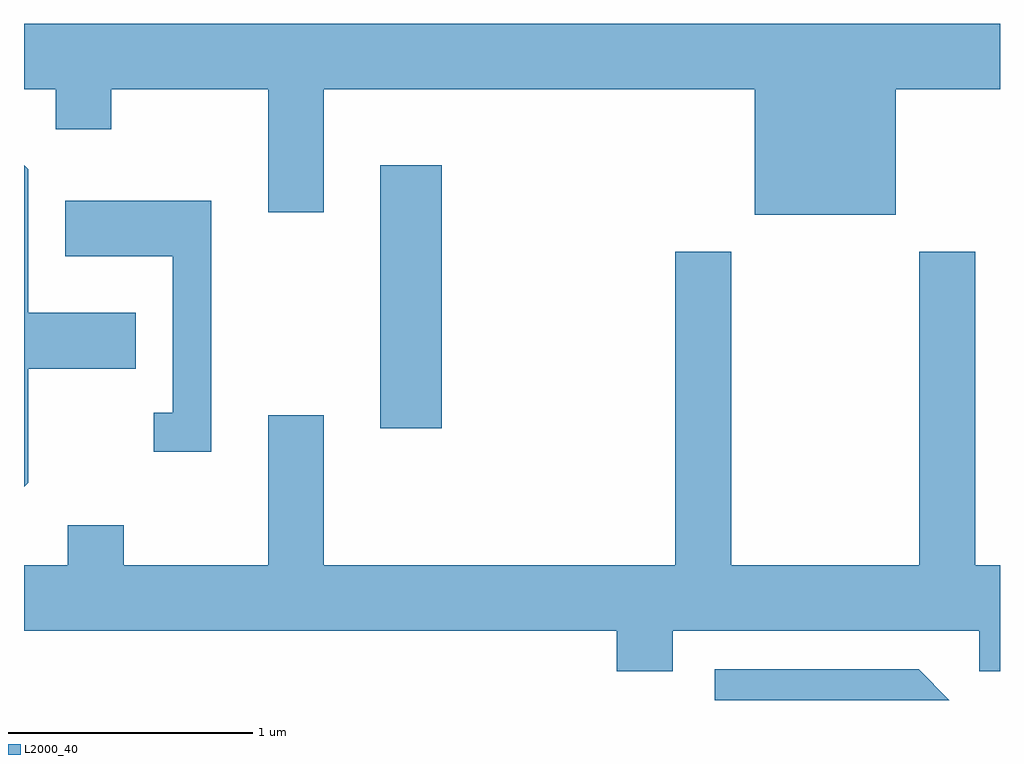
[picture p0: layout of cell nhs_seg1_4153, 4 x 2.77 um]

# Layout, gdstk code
import gdstk
lib = gdstk.Library(unit=1e-6, precision=1e-09)
def R(c, l, rs):  # rectangles x0, y0, x1, y1
    for r in rs: c.add(gdstk.rectangle(r[:2], r[2:], *l))
def P(c, l, *ps):  # polygons
    for p in ps: c.add(gdstk.Polygon(p, *l))
L2000_40 = (2000, 40)

nhs_seg1_4153 = lib.new_cell('nhs_seg1_4153')
R(nhs_seg1_4153, L2000_40, [(311.071,924.826,311.324,925.904)])
P(nhs_seg1_4153, L2000_40, [(313.184,926.216),(313.611,926.216),(313.611,926.484),(309.611,926.484),(309.611,926.216),(309.741,926.216),(309.741,926.051),(309.969,926.051),(309.969,926.216),(310.611,926.216),(310.611,925.711),(310.839,925.711),(310.839,926.216),(312.606,926.216),(312.606,925.701),(313.184,925.701)],
  [(309.629,924.604),(309.629,925.071),(310.069,925.071),(310.069,925.299),(309.629,925.299),(309.629,925.887),(309.611,925.905),(309.611,924.586)],
  [(310.379,925.759),(309.781,925.759),(309.781,925.531),(310.221,925.531),(310.221,924.889),(310.143,924.889),(310.143,924.731),(310.379,924.731)],
  [(312.269,923.996),(313.526,923.996),(313.526,923.831),(313.611,923.831),(313.611,924.264),(313.509,924.264),(313.509,925.549),(313.281,925.549),(313.281,924.264),(312.509,924.264),(312.509,925.549),(312.281,925.549),(312.281,924.264),(310.839,924.264),(310.839,924.879),(310.611,924.879),(310.611,924.264),(310.019,924.264),(310.019,924.429),(309.791,924.429),(309.791,924.264),(309.611,924.264),(309.611,923.996),(312.041,923.996),(312.041,923.831),(312.269,923.831)],
  [(313.277,923.839),(312.441,923.839),(312.441,923.712),(313.404,923.712)])

lib.write_gds('nhs_seg1_4153.gds')
